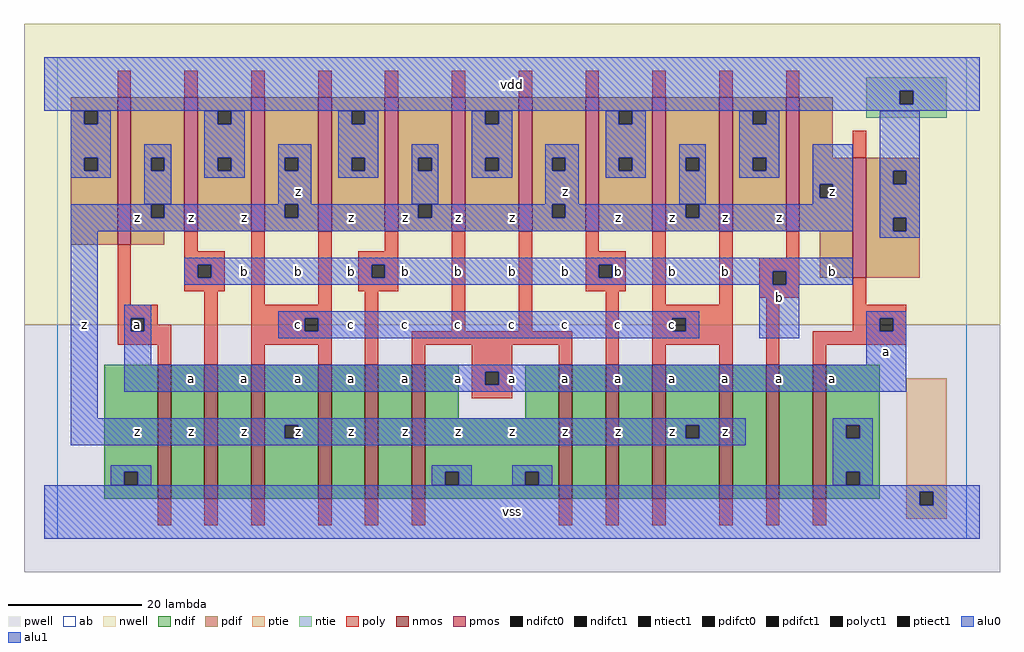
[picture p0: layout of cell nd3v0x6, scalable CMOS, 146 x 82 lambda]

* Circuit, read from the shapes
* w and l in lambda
.subckt nd3v0x6 a b c vdd vss z
M1 n1 a vss vss nfet w=20 l=2
M2 n2 b n1 vss nfet w=20 l=2
M3 z c n2 vss nfet w=20 l=2
M4 n3 c z vss nfet w=20 l=2
M5 n4 b n3 vss nfet w=20 l=2
M6 vss a n4 vss nfet w=20 l=2
M7 n5 a vss vss nfet w=20 l=2
M8 n6 b n5 vss nfet w=20 l=2
M9 z c n6 vss nfet w=20 l=2
M10 n7 c z vss nfet w=20 l=2
M11 n8 b n7 vss nfet w=20 l=2
M12 vss a n8 vss nfet w=20 l=2
M13 z a vdd vdd pfet w=22 l=2
M14 vdd b z vdd pfet w=20 l=2 m=4
M15 z c vdd vdd pfet w=20 l=2 m=4
M16 vdd a z vdd pfet w=20 l=2 m=2
M17 vdd a z vdd pfet w=18 l=2
.ends

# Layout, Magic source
magic
tech scmos
<< ab >>
rect 0 0 136 72
<< nwell >>
rect -5 32 141 77
<< pwell >>
rect -5 -5 141 32
<< poly >>
rect 9 66 11 70
rect 19 66 21 70
rect 29 66 31 70
rect 39 66 41 70
rect 49 66 51 70
rect 59 66 61 70
rect 69 66 71 70
rect 79 66 81 70
rect 89 66 91 70
rect 99 66 101 70
rect 109 66 111 70
rect 119 57 121 61
rect 9 35 11 44
rect 19 43 21 46
rect 19 41 25 43
rect 19 39 21 41
rect 23 39 25 41
rect 19 37 25 39
rect 9 33 15 35
rect 9 31 11 33
rect 13 32 15 33
rect 13 31 17 32
rect 9 29 17 31
rect 15 26 17 29
rect 22 26 24 37
rect 29 35 31 46
rect 39 35 41 46
rect 49 43 51 46
rect 45 41 51 43
rect 45 39 47 41
rect 49 39 51 41
rect 45 37 51 39
rect 29 33 41 35
rect 29 31 37 33
rect 39 31 41 33
rect 29 29 41 31
rect 29 26 31 29
rect 39 26 41 29
rect 46 26 48 37
rect 59 31 61 46
rect 69 31 71 46
rect 79 43 81 46
rect 79 41 85 43
rect 79 39 81 41
rect 83 39 85 41
rect 79 37 85 39
rect 53 29 77 31
rect 53 26 55 29
rect 62 25 68 29
rect 75 26 77 29
rect 82 26 84 37
rect 89 35 91 46
rect 99 35 101 46
rect 109 42 111 46
rect 105 40 111 42
rect 105 38 107 40
rect 109 38 111 40
rect 105 36 111 38
rect 89 33 101 35
rect 89 31 92 33
rect 94 31 101 33
rect 89 29 101 31
rect 89 26 91 29
rect 99 26 101 29
rect 106 26 108 36
rect 119 35 121 39
rect 119 33 127 35
rect 119 31 123 33
rect 125 31 127 33
rect 113 29 127 31
rect 113 26 115 29
rect 62 23 64 25
rect 66 23 68 25
rect 62 21 68 23
rect 15 2 17 6
rect 22 2 24 6
rect 29 2 31 6
rect 39 2 41 6
rect 46 2 48 6
rect 53 2 55 6
rect 75 2 77 6
rect 82 2 84 6
rect 89 2 91 6
rect 99 2 101 6
rect 106 2 108 6
rect 113 2 115 6
<< ndif >>
rect 7 10 15 26
rect 7 8 10 10
rect 12 8 15 10
rect 7 6 15 8
rect 17 6 22 26
rect 24 6 29 26
rect 31 17 39 26
rect 31 15 34 17
rect 36 15 39 17
rect 31 6 39 15
rect 41 6 46 26
rect 48 6 53 26
rect 55 18 60 26
rect 70 18 75 26
rect 55 10 75 18
rect 55 8 58 10
rect 60 8 70 10
rect 72 8 75 10
rect 55 6 75 8
rect 77 6 82 26
rect 84 6 89 26
rect 91 17 99 26
rect 91 15 94 17
rect 96 15 99 17
rect 91 6 99 15
rect 101 6 106 26
rect 108 6 113 26
rect 115 17 123 26
rect 115 15 118 17
rect 120 15 123 17
rect 115 10 123 15
rect 115 8 118 10
rect 120 8 123 10
rect 115 6 123 8
<< pdif >>
rect 2 64 9 66
rect 2 62 4 64
rect 6 62 9 64
rect 2 57 9 62
rect 2 55 4 57
rect 6 55 9 57
rect 2 44 9 55
rect 11 57 19 66
rect 11 55 14 57
rect 16 55 19 57
rect 11 50 19 55
rect 11 48 14 50
rect 16 48 19 50
rect 11 46 19 48
rect 21 64 29 66
rect 21 62 24 64
rect 26 62 29 64
rect 21 57 29 62
rect 21 55 24 57
rect 26 55 29 57
rect 21 46 29 55
rect 31 57 39 66
rect 31 55 34 57
rect 36 55 39 57
rect 31 50 39 55
rect 31 48 34 50
rect 36 48 39 50
rect 31 46 39 48
rect 41 64 49 66
rect 41 62 44 64
rect 46 62 49 64
rect 41 57 49 62
rect 41 55 44 57
rect 46 55 49 57
rect 41 46 49 55
rect 51 57 59 66
rect 51 55 54 57
rect 56 55 59 57
rect 51 50 59 55
rect 51 48 54 50
rect 56 48 59 50
rect 51 46 59 48
rect 61 64 69 66
rect 61 62 64 64
rect 66 62 69 64
rect 61 57 69 62
rect 61 55 64 57
rect 66 55 69 57
rect 61 46 69 55
rect 71 57 79 66
rect 71 55 74 57
rect 76 55 79 57
rect 71 50 79 55
rect 71 48 74 50
rect 76 48 79 50
rect 71 46 79 48
rect 81 64 89 66
rect 81 62 84 64
rect 86 62 89 64
rect 81 57 89 62
rect 81 55 84 57
rect 86 55 89 57
rect 81 46 89 55
rect 91 57 99 66
rect 91 55 94 57
rect 96 55 99 57
rect 91 50 99 55
rect 91 48 94 50
rect 96 48 99 50
rect 91 46 99 48
rect 101 64 109 66
rect 101 62 104 64
rect 106 62 109 64
rect 101 57 109 62
rect 101 55 104 57
rect 106 55 109 57
rect 101 46 109 55
rect 111 57 116 66
rect 111 53 119 57
rect 111 51 114 53
rect 116 51 119 53
rect 111 46 119 51
rect 11 44 16 46
rect 114 39 119 46
rect 121 55 129 57
rect 121 53 125 55
rect 127 53 129 55
rect 121 48 129 53
rect 121 46 125 48
rect 127 46 129 48
rect 121 39 129 46
<< alu1 >>
rect -2 67 138 72
rect -2 65 126 67
rect 128 65 138 67
rect -2 64 138 65
rect 33 57 38 59
rect 33 55 34 57
rect 36 55 38 57
rect 33 50 38 55
rect 73 57 78 59
rect 73 55 74 57
rect 76 55 78 57
rect 73 50 78 55
rect 113 53 119 59
rect 113 51 114 53
rect 116 51 119 53
rect 113 50 119 51
rect 2 48 14 50
rect 16 48 34 50
rect 36 48 54 50
rect 56 48 74 50
rect 76 48 94 50
rect 96 48 119 50
rect 2 46 119 48
rect 2 18 6 46
rect 19 41 119 42
rect 19 39 21 41
rect 23 39 47 41
rect 49 39 81 41
rect 83 40 119 41
rect 83 39 107 40
rect 19 38 107 39
rect 109 38 119 40
rect 10 33 14 35
rect 10 31 11 33
rect 13 31 14 33
rect 10 26 14 31
rect 33 33 96 34
rect 33 31 37 33
rect 39 31 92 33
rect 94 31 96 33
rect 33 30 96 31
rect 105 30 111 38
rect 121 33 127 34
rect 121 31 123 33
rect 125 31 127 33
rect 121 26 127 31
rect 10 25 127 26
rect 10 23 64 25
rect 66 23 127 25
rect 10 22 127 23
rect 2 17 103 18
rect 2 15 34 17
rect 36 15 94 17
rect 96 15 103 17
rect 2 14 103 15
rect -2 7 138 8
rect -2 5 129 7
rect 131 5 138 7
rect -2 0 138 5
<< ptie >>
rect 127 7 133 24
rect 127 5 129 7
rect 131 5 133 7
rect 127 3 133 5
<< ntie >>
rect 121 67 133 69
rect 121 65 126 67
rect 128 65 133 67
rect 121 63 133 65
<< nmos >>
rect 15 6 17 26
rect 22 6 24 26
rect 29 6 31 26
rect 39 6 41 26
rect 46 6 48 26
rect 53 6 55 26
rect 75 6 77 26
rect 82 6 84 26
rect 89 6 91 26
rect 99 6 101 26
rect 106 6 108 26
rect 113 6 115 26
<< pmos >>
rect 9 44 11 66
rect 19 46 21 66
rect 29 46 31 66
rect 39 46 41 66
rect 49 46 51 66
rect 59 46 61 66
rect 69 46 71 66
rect 79 46 81 66
rect 89 46 91 66
rect 99 46 101 66
rect 109 46 111 66
rect 119 39 121 57
<< polyct1 >>
rect 21 39 23 41
rect 11 31 13 33
rect 47 39 49 41
rect 37 31 39 33
rect 81 39 83 41
rect 107 38 109 40
rect 92 31 94 33
rect 123 31 125 33
rect 64 23 66 25
<< ndifct0 >>
rect 10 8 12 10
rect 58 8 60 10
rect 70 8 72 10
rect 118 15 120 17
rect 118 8 120 10
<< ndifct1 >>
rect 34 15 36 17
rect 94 15 96 17
<< ntiect1 >>
rect 126 65 128 67
<< ptiect1 >>
rect 129 5 131 7
<< pdifct0 >>
rect 4 62 6 64
rect 4 55 6 57
rect 14 55 16 57
rect 24 62 26 64
rect 24 55 26 57
rect 44 62 46 64
rect 44 55 46 57
rect 54 55 56 57
rect 64 62 66 64
rect 64 55 66 57
rect 84 62 86 64
rect 84 55 86 57
rect 94 55 96 57
rect 104 62 106 64
rect 104 55 106 57
rect 125 53 127 55
rect 125 46 127 48
<< pdifct1 >>
rect 14 48 16 50
rect 34 55 36 57
rect 34 48 36 50
rect 54 48 56 50
rect 74 55 76 57
rect 74 48 76 50
rect 94 48 96 50
rect 114 51 116 53
<< alu0 >>
rect 2 62 4 64
rect 6 62 8 64
rect 2 57 8 62
rect 22 62 24 64
rect 26 62 28 64
rect 2 55 4 57
rect 6 55 8 57
rect 2 54 8 55
rect 13 57 17 59
rect 13 55 14 57
rect 16 55 17 57
rect 13 50 17 55
rect 22 57 28 62
rect 42 62 44 64
rect 46 62 48 64
rect 22 55 24 57
rect 26 55 28 57
rect 22 54 28 55
rect 42 57 48 62
rect 62 62 64 64
rect 66 62 68 64
rect 42 55 44 57
rect 46 55 48 57
rect 42 54 48 55
rect 53 57 57 59
rect 53 55 54 57
rect 56 55 57 57
rect 53 50 57 55
rect 62 57 68 62
rect 82 62 84 64
rect 86 62 88 64
rect 62 55 64 57
rect 66 55 68 57
rect 62 54 68 55
rect 82 57 88 62
rect 102 62 104 64
rect 106 62 108 64
rect 82 55 84 57
rect 86 55 88 57
rect 82 54 88 55
rect 93 57 97 59
rect 93 55 94 57
rect 96 55 97 57
rect 93 50 97 55
rect 102 57 108 62
rect 102 55 104 57
rect 106 55 108 57
rect 102 54 108 55
rect 123 55 129 64
rect 123 53 125 55
rect 127 53 129 55
rect 123 48 129 53
rect 123 46 125 48
rect 127 46 129 48
rect 123 45 129 46
rect 116 17 122 18
rect 116 15 118 17
rect 120 15 122 17
rect 8 10 14 11
rect 8 8 10 10
rect 12 8 14 10
rect 56 10 62 11
rect 56 8 58 10
rect 60 8 62 10
rect 68 10 74 11
rect 68 8 70 10
rect 72 8 74 10
rect 116 10 122 15
rect 116 8 118 10
rect 120 8 122 10
<< labels >>
rlabel alu1 12 16 12 16 6 z
rlabel alu1 20 16 20 16 6 z
rlabel alu1 20 24 20 24 6 a
rlabel polyct1 12 32 12 32 6 a
rlabel alu1 4 32 4 32 6 z
rlabel alu1 20 48 20 48 6 z
rlabel alu1 12 48 12 48 6 z
rlabel alu1 36 16 36 16 6 z
rlabel alu1 44 16 44 16 6 z
rlabel alu1 28 16 28 16 6 z
rlabel alu1 28 24 28 24 6 a
rlabel alu1 44 24 44 24 6 a
rlabel alu1 36 24 36 24 6 a
rlabel alu1 36 32 36 32 6 c
rlabel alu1 44 32 44 32 6 c
rlabel alu1 28 40 28 40 6 b
rlabel alu1 44 40 44 40 6 b
rlabel alu1 36 40 36 40 6 b
rlabel alu1 28 48 28 48 6 z
rlabel alu1 44 48 44 48 6 z
rlabel alu1 36 52 36 52 6 z
rlabel alu1 68 4 68 4 6 vss
rlabel alu1 60 16 60 16 6 z
rlabel alu1 68 16 68 16 6 z
rlabel alu1 76 16 76 16 6 z
rlabel alu1 52 16 52 16 6 z
rlabel alu1 52 24 52 24 6 a
rlabel alu1 68 24 68 24 6 a
rlabel alu1 76 24 76 24 6 a
rlabel alu1 60 24 60 24 6 a
rlabel alu1 60 32 60 32 6 c
rlabel alu1 68 32 68 32 6 c
rlabel alu1 76 32 76 32 6 c
rlabel alu1 52 32 52 32 6 c
rlabel alu1 52 40 52 40 6 b
rlabel alu1 68 40 68 40 6 b
rlabel alu1 76 40 76 40 6 b
rlabel alu1 60 40 60 40 6 b
rlabel alu1 52 48 52 48 6 z
rlabel alu1 68 48 68 48 6 z
rlabel alu1 76 52 76 52 6 z
rlabel alu1 60 48 60 48 6 z
rlabel alu1 68 68 68 68 6 vdd
rlabel alu1 92 16 92 16 6 z
rlabel alu1 100 16 100 16 6 z
rlabel alu1 84 16 84 16 6 z
rlabel alu1 84 24 84 24 6 a
rlabel alu1 92 24 92 24 6 a
rlabel alu1 108 24 108 24 6 a
rlabel alu1 100 24 100 24 6 a
rlabel alu1 92 32 92 32 6 c
rlabel alu1 84 32 84 32 6 c
rlabel alu1 84 40 84 40 6 b
rlabel alu1 92 40 92 40 6 b
rlabel alu1 108 36 108 36 6 b
rlabel alu1 100 40 100 40 6 b
rlabel alu1 84 48 84 48 6 z
rlabel alu1 92 48 92 48 6 z
rlabel alu1 108 48 108 48 6 z
rlabel alu1 100 48 100 48 6 z
rlabel alu1 116 24 116 24 6 a
rlabel alu1 124 28 124 28 6 a
rlabel alu1 116 40 116 40 6 b
rlabel alu1 116 52 116 52 6 z
<< end >>
